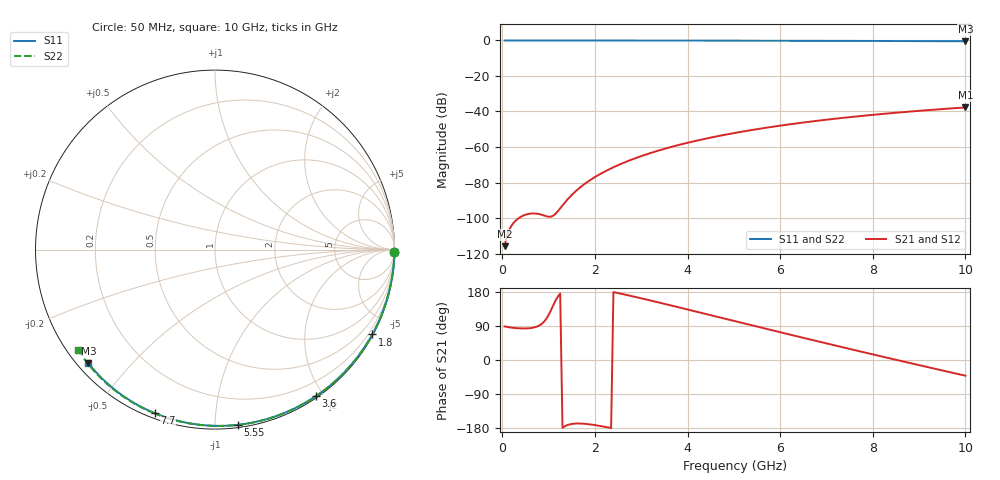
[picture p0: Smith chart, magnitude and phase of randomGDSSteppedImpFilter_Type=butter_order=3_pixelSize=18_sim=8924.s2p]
! freq	dB(S11)	phase(S11)	dB(S12)	phase(S12)
!  dB(S21)	phase(S21)	dB(S22)	phase(S22)
!S-par simulation data
#  GHz  S  DB  R 50
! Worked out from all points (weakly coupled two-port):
!   200 points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, 50 MHz to 10 GHz, reference 50 ohm
!   highest |S21| = -37.73 dB at 10 GHz (marker M1); lowest = -115.8 dB at 50 MHz (marker M2)
!   lowest |S11| = -0.5 dB at 10 GHz (marker M3), VSWR 37.08, Z = 1.55 - j19.1 ohm
!   |S11| at or under -10 dB: nowhere
!   |S22| runs from -0.5 to 0.0 dB; largest |S21 - S12| = 0
!   S11 on the Smith chart (normalised r, x): 50 MHz: open; 1.8 GHz: 0.03, -3.96; 3.6 GHz: 0.02, -1.91; 5.55 GHz: 0.02, -1.14; 7.7 GHz: 0.02, -0.70; 10 GHz: 0.03, -0.38
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0.05  -0.00 -0.8  -115.85 88.6  -115.85 88.6  -0.00 -0.8
0.45  -0.01 -7.2  -98.66 83.3  -98.66 83.3  -0.01 -7.4
0.9  -0.02 -14.3  -98.57 100.9  -98.57 100.9  -0.02 -14.8
1.3  -0.03 -20.6  -92.88 -179.0  -92.88 -179.0  -0.03 -21.3
1.75  -0.04 -27.6  -81.34 -168.1  -81.34 -168.1  -0.04 -28.5
1.8  -0.04 -28.3  -80.38 -168.6  -80.38 -168.6  -0.04 -29.3
1.85  -0.04 -29.1  -79.46 -169.2  -79.46 -169.2  -0.04 -30.1
2.05  -0.04 -32.2  -76.16 -172.7  -76.16 -172.7  -0.04 -33.3
2.2  -0.04 -34.5  -74.00 -175.9  -74.00 -175.9  -0.05 -35.6
2.55  -0.05 -39.8  -69.65 175.3  -69.65 175.3  -0.05 -41.1
2.95  -0.06 -45.8  -65.60 164.2  -65.60 164.2  -0.06 -47.3
3.4  -0.07 -52.4  -61.80 151.2  -61.80 151.2  -0.07 -54.2
3.6  -0.07 -55.3  -60.31 145.3  -60.31 145.3  -0.08 -57.2
4.3  -0.09 -65.4  -55.82 124.3  -55.82 124.3  -0.10 -67.6
5.05  -0.12 -75.8  -51.94 101.7  -51.94 101.7  -0.12 -78.3
5.55  -0.14 -82.6  -49.75 86.7  -49.75 86.7  -0.14 -85.3
6.1  -0.16 -89.9  -47.61 70.3  -47.61 70.3  -0.16 -92.9
6.7  -0.19 -97.6  -45.56 52.6  -45.56 52.6  -0.19 -101.0
7.7  -0.25 -110.2  -42.66 23.4  -42.66 23.4  -0.26 -114.1
8.35  -0.30 -118.2  -41.05 4.8  -41.05 4.8  -0.31 -122.5
9.2  -0.38 -128.5  -39.21 -19.2  -39.21 -19.2  -0.39 -133.5
10  -0.47 -138.1  -37.73 -41.5  -37.73 -41.5  -0.48 -143.9
